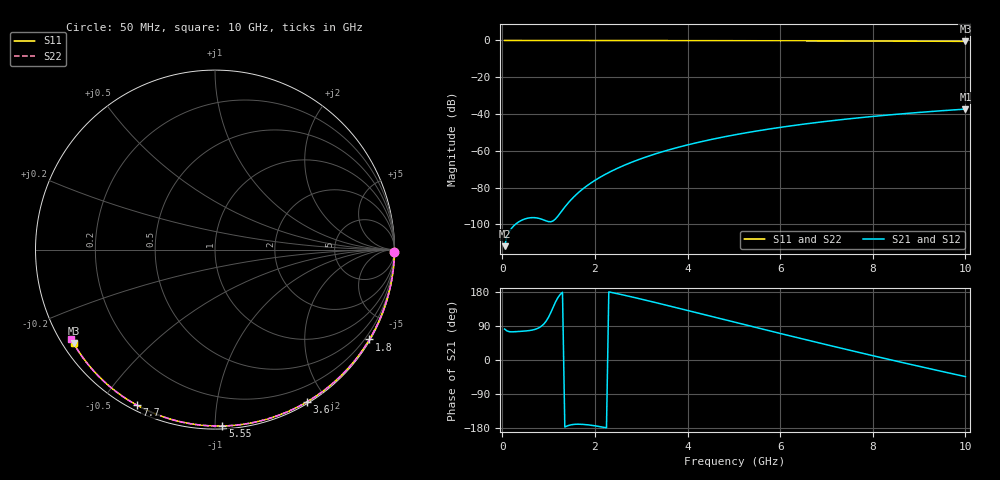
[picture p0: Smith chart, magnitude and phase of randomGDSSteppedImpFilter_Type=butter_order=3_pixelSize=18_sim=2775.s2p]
! freq	dB(S11)	phase(S11)	dB(S12)	phase(S12)
!  dB(S21)	phase(S21)	dB(S22)	phase(S22)
!S-par simulation data
#  GHz  S  DB  R 50
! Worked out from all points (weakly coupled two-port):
!   200 points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, 50 MHz to 10 GHz, reference 50 ohm
!   highest |S21| = -37.32 dB at 10 GHz (marker M1); lowest = -111.8 dB at 50 MHz (marker M2)
!   lowest |S11| = -0.5 dB at 10 GHz (marker M3), VSWR 35.08, Z = 1.55 - j15 ohm
!   |S11| at or under -10 dB: nowhere
!   |S22| runs from -0.5 to 0.0 dB; largest |S21 - S12| = 0
!   S11 on the Smith chart (normalised r, x): 50 MHz: open; 1.8 GHz: 0.03, -3.71; 3.6 GHz: 0.02, -1.77; 5.55 GHz: 0.02, -1.04; 7.7 GHz: 0.02, -0.61; 10 GHz: 0.03, -0.30
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0.05  -0.00 -0.9  -111.84 81.7  -111.84 81.7  -0.00 -0.9
0.45  -0.01 -7.7  -97.39 76.0  -97.39 76.0  -0.01 -7.7
0.9  -0.02 -15.3  -97.64 95.3  -97.64 95.3  -0.02 -15.4
1.3  -0.03 -21.9  -92.18 178.8  -92.18 178.8  -0.03 -22.1
1.75  -0.04 -29.4  -80.49 -170.0  -80.49 -170.0  -0.04 -29.6
1.8  -0.04 -30.2  -79.52 -170.5  -79.52 -170.5  -0.04 -30.5
1.95  -0.04 -32.7  -76.87 -172.7  -76.87 -172.7  -0.04 -33.0
2.1  -0.04 -35.1  -74.54 -175.6  -74.54 -175.6  -0.04 -35.4
2.3  -0.05 -38.3  -71.78 179.7  -71.78 179.7  -0.05 -38.7
2.5  -0.05 -41.6  -69.35 174.6  -69.35 174.6  -0.05 -41.9
2.9  -0.06 -47.9  -65.18 163.5  -65.18 163.5  -0.06 -48.4
3.4  -0.07 -55.8  -60.93 148.9  -60.93 148.9  -0.07 -56.3
3.6  -0.08 -58.9  -59.45 142.9  -59.45 142.9  -0.08 -59.4
4.3  -0.10 -69.5  -55.00 121.6  -55.00 121.6  -0.10 -70.1
5.05  -0.12 -80.5  -51.16 98.8  -51.16 98.8  -0.12 -81.2
5.55  -0.14 -87.6  -48.99 83.6  -48.99 83.6  -0.14 -88.4
6.1  -0.17 -95.3  -46.89 67.1  -46.89 67.1  -0.17 -96.2
6.7  -0.20 -103.5  -44.88 49.2  -44.88 49.2  -0.20 -104.5
7.7  -0.27 -116.8  -42.05 20.0  -42.05 20.0  -0.27 -117.9
8.35  -0.32 -125.3  -40.49 1.5  -40.49 1.5  -0.32 -126.5
9.2  -0.40 -136.2  -38.73 -22.2  -38.73 -22.2  -0.41 -137.7
10  -0.50 -146.5  -37.32 -43.8  -37.32 -43.8  -0.50 -148.2
